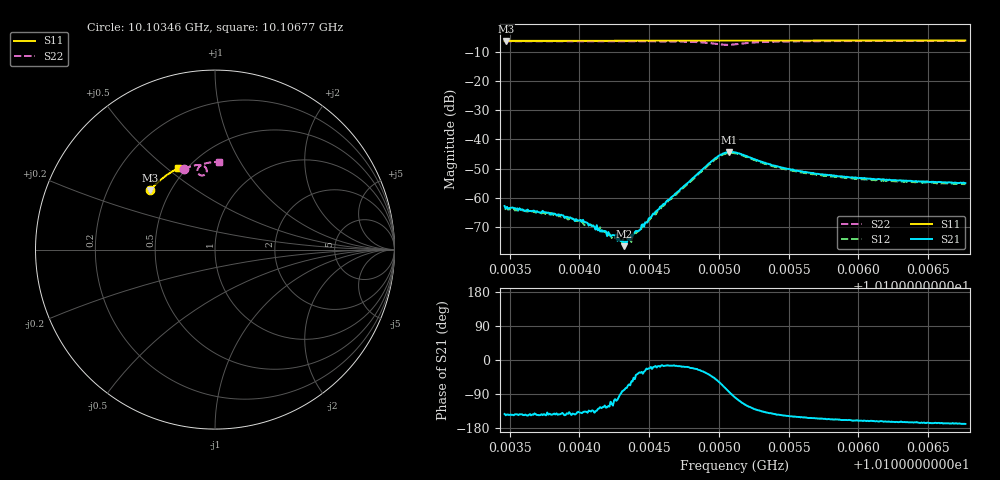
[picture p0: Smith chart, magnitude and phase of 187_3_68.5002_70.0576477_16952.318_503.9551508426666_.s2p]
#  HZ  S  RI  R  50.00
! Rohde & Schwarz Vector Network Analyzer
! Rohde-Schwarz,ZNB20-2Port,1311601062101988,3.16
! Created: UTC 3/20/2024, 5:12:06 PM
! freq[Hz]  re:S11  im:S11  re:S21  im:S21  re:S12  im:S12  re:S22  im:S22
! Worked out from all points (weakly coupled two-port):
!   401 points, 10.10346 GHz to 10.10677 GHz, reference 50 ohm
!   highest |S21| = -44.30 dB at 10.10507 GHz (marker M1); lowest = -76.6 dB at 10.10432 GHz (marker M2)
!   lowest |S11| = -6.2 dB at 10.10347 GHz (marker M3), VSWR 2.92, Z = 19.4 + j16.9 ohm
!   |S11| at or under -10 dB: nowhere
!   |S22| runs from -7.6 to -6.2 dB; largest |S21 - S12| = 0.00063
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1.0103464e10  -0.3606 0.3307  -0.00057 -0.000437  -0.000486 -0.0004  -0.1721 0.4496
1.0103472e10  -0.3602 0.3311  -0.000539 -0.000366  -0.0005 -0.000405  -0.1716 0.45
1.0103794e10  -0.3474 0.3459  -0.000411 -0.000303  -0.000429 -0.000335  -0.151 0.4581
1.0104017e10  -0.338 0.3558  -0.000297 -0.000247  -0.000281 -0.000275  -0.136 0.4631
1.0104083e10  -0.3353 0.3587  -0.000239 -0.000232  -0.00021 -0.000272  -0.1313 0.4645
1.0104166e10  -0.3318 0.3623  -0.000149 -0.000215  -0.000146 -0.000231  -0.1254 0.4663
1.0104215e10  -0.3297 0.3643  -0.000129 -0.0002  -7.07e-05 -0.000223  -0.1216 0.4671
1.0104248e10  -0.3282 0.3658  -6.59e-05 -0.000216  -5.36e-05 -0.000204  -0.1193 0.4677
1.0104306e10  -0.3257 0.3683  2.39e-05 -0.000182  3.43e-05 -0.000169  -0.1148 0.4687
1.0104323e10  -0.325 0.3689  2.95e-05 -0.000144  3.54e-05 -0.000146  -0.1135 0.469
1.0104364e10  -0.3231 0.3706  7.31e-05 -0.00017  0.000107 -0.000158  -0.1101 0.4695
1.0104397e10  -0.3216 0.3721  0.000163 -0.000198  0.000186 -0.000172  -0.1074 0.4701
1.0104422e10  -0.3205 0.373  0.000217 -0.000153  0.000223 -0.000149  -0.1052 0.4704
1.010457e10  -0.3139 0.3792  0.00061 -0.000174  0.000593 -0.000131  -0.0918 0.4717
1.0104959e10  -0.2958 0.3943  0.00307 -0.00316  0.00321 -0.00271  -0.0459 0.4388
1.0105016e10  -0.2932 0.3964  0.00244 -0.00492  0.00279 -0.00449  -0.0529 0.4207
1.0105074e10  -0.2905 0.3985  0.000606 -0.00606  0.0011 -0.00573  -0.0728 0.4123
1.0105116e10  -0.2887 0.4  -0.000915 -0.0059  -0.00034 -0.00575  -0.0869 0.4175
1.0105396e10  -0.2755 0.4106  -0.00281 -0.00214  -0.00253 -0.00228  -0.0831 0.4669
1.0105669e10  -0.262 0.4202  -0.00237 -0.00119  -0.00214 -0.00134  -0.0586 0.4788
1.0106222e10  -0.2336 0.4381  -0.00195 -0.000601  -0.00179 -0.000742  -0.0172 0.4867
1.0106767e10  -0.2043 0.4538  -0.00174 -0.000349  -0.00162 -0.000524  0.0199 0.4885
